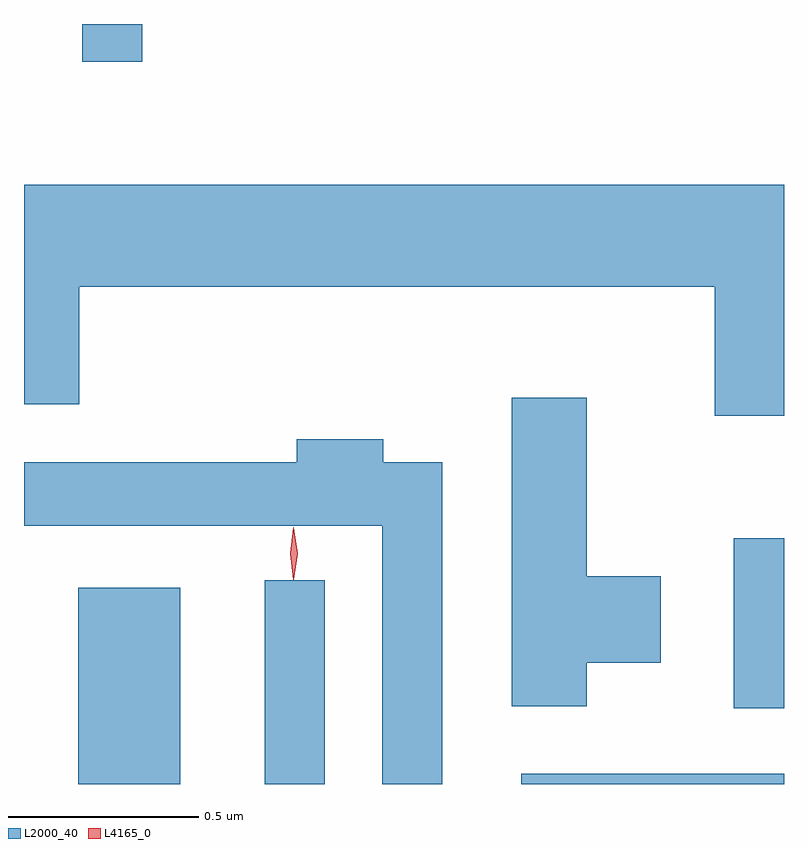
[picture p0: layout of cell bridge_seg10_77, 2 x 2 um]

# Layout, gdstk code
import gdstk
lib = gdstk.Library(unit=1e-6, precision=1e-09)
def R(c, l, rs):  # rectangles x0, y0, x1, y1
    for r in rs: c.add(gdstk.rectangle(r[:2], r[2:], *l))
def P(c, l, *ps):  # polygons
    for p in ps: c.add(gdstk.Polygon(p, *l))
L2000_40 = (2000, 40)
L4165_0 = (4165, 0)

bridge_seg10_77 = lib.new_cell('bridge_seg10_77')
R(bridge_seg10_77, L2000_40, [(1589.446,2203.627,1589.714,2204.144), (1589.936,2203.627,1590.094,2204.163), (1590.611,2203.627,1591.303,2203.654), (1591.171,2203.826,1591.303,2204.274), (1589.456,2205.528,1589.614,2205.627)])
P(bridge_seg10_77, L2000_40, [(1591.303,2205.204),(1589.303,2205.204),(1589.303,2204.626),(1589.449,2204.626),(1589.449,2204.936),(1591.121,2204.936),(1591.121,2204.596),(1591.303,2204.596)],
  [(1590.784,2203.946),(1590.979,2203.946),(1590.979,2204.174),(1590.784,2204.174),(1590.784,2204.644),(1590.586,2204.644),(1590.586,2203.831),(1590.784,2203.831)],
  [(1590.404,2204.474),(1590.249,2204.474),(1590.249,2204.534),(1590.021,2204.534),(1590.021,2204.474),(1589.303,2204.474),(1589.303,2204.306),(1590.246,2204.306),(1590.246,2203.627),(1590.404,2203.627)])
P(bridge_seg10_77, L4165_0, [(1590.012,2204.164),(1590.003,2204.233),(1590.012,2204.302),(1590.013,2204.303),(1590.013,2204.302),(1590.023,2204.233),(1590.013,2204.164),(1590.013,2204.164)],
  [(1590.013,2204.167),(1590.012,2204.168),(1590.003,2204.234),(1590.012,2204.3),(1590.013,2204.3),(1590.013,2204.3),(1590.023,2204.234),(1590.013,2204.168)])

lib.write_gds('bridge_seg10_77.gds')
